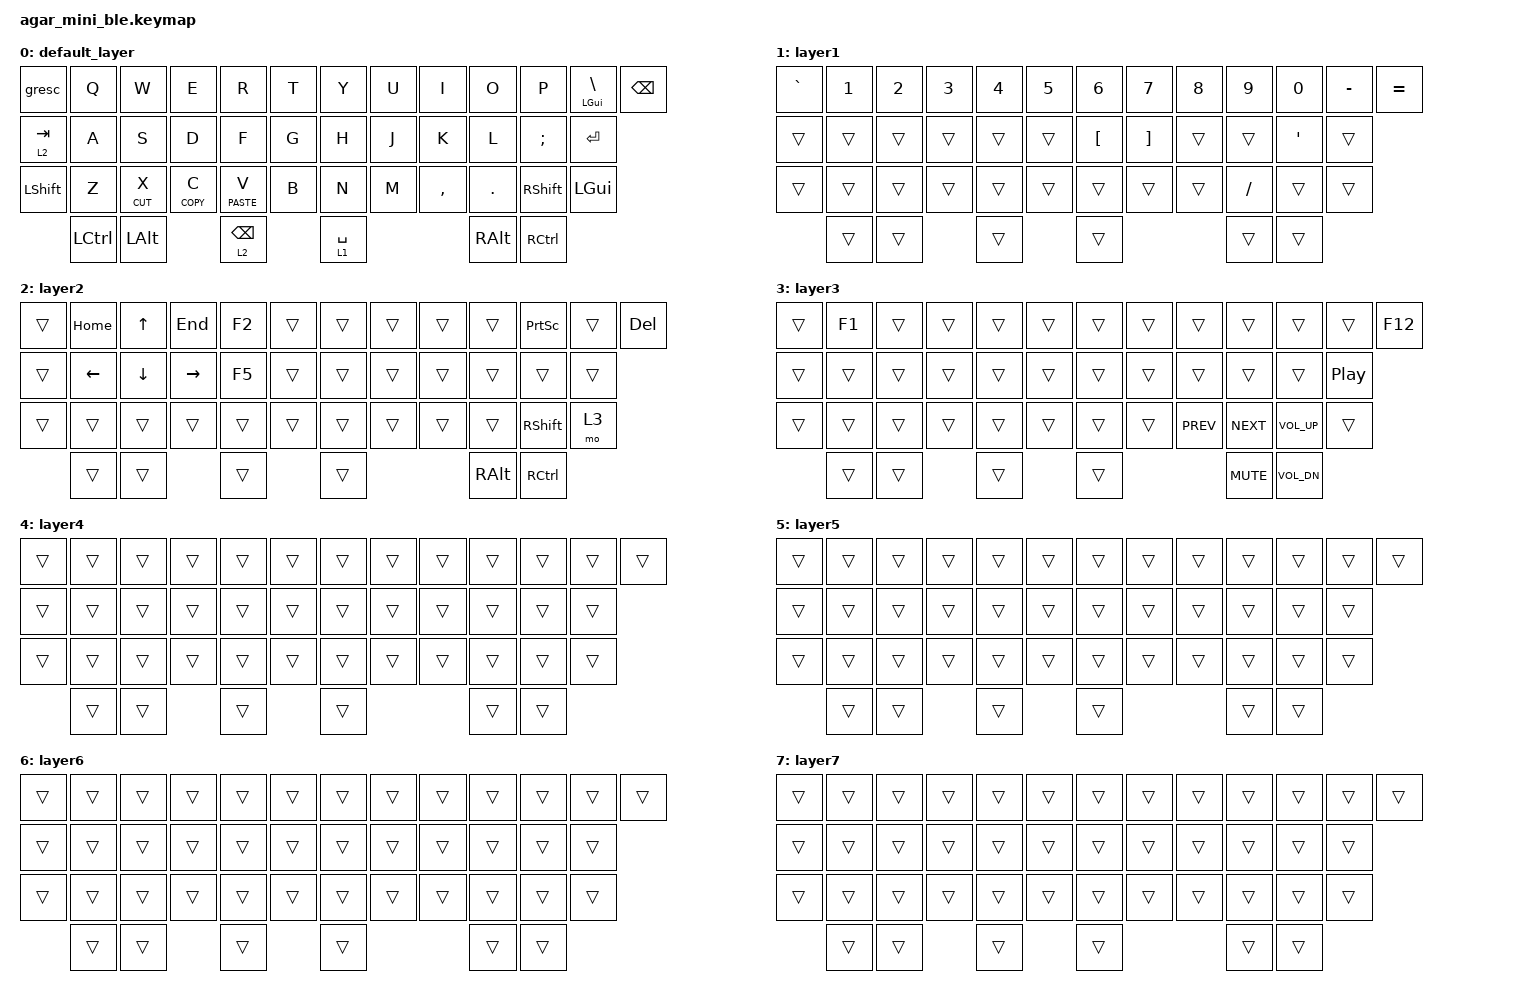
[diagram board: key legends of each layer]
/*
 * Copyright (c) 2021 The ZMK Contributors
 *
 * SPDX-License-Identifier: MIT
 */

#include "./boards/shields/klink_kbd/common.keymap"
#include <behaviors.dtsi>
#include <dt-bindings/zmk/keys.h>

&lt {
    tapping-term-ms = <500>;
    flavor = "tap-unless-interrupted";
};

/ {
    keymap {
        compatible = "zmk,keymap";

        default_layer {
            bindings = <
&gresc     &kp Q      &kp W        &kp E         &kp R            &kp T  &kp Y        &kp U  &kp I      &kp O          &kp P              &mt LGUI BACKSLASH  &kp BSPC
&lt 2 TAB  &kp A      &kp S        &kp D         &kp F            &kp G  &kp H        &kp J  &kp K      &kp L          &kp SEMI           &kp RET
&kp LSHFT  &kp Z      &mt K_CUT X  &mt K_COPY C  &mt K_PASTE V    &kp B  &kp N        &kp M  &kp COMMA  &kp DOT        &kp RIGHT_SHIFT    &kp LEFT_GUI
           &kp LCTRL  &kp LALT                   &lt 2 BACKSPACE         &lt 1 SPACE                    &kp RIGHT_ALT  &kp RIGHT_CONTROL
            >;
        };

        layer1 {
            bindings = <
&kp GRAVE  &kp N1  &kp N2  &kp N3  &kp N4  &kp N5  &kp N6            &kp N7             &kp N8  &kp N9     &kp N0            &kp MINUS  &kp EQUAL
&trans     &trans  &trans  &trans  &trans  &trans  &kp LEFT_BRACKET  &kp RIGHT_BRACKET  &trans  &trans     &kp SINGLE_QUOTE  &trans
&trans     &trans  &trans  &trans  &trans  &trans  &trans            &trans             &trans  &kp SLASH  &trans            &trans
           &trans  &trans          &trans          &trans                                       &trans     &trans
            >;
        };

        layer2 {
            bindings = <
&trans  &kp HOME        &kp UP_ARROW    &kp END          &kp F2  &trans  &trans  &trans  &trans  &trans    &kp PRINTSCREEN  &trans  &kp DELETE
&trans  &kp LEFT_ARROW  &kp DOWN_ARROW  &kp RIGHT_ARROW  &kp F5  &trans  &trans  &trans  &trans  &trans    &trans           &trans
&trans  &trans          &trans          &trans           &trans  &trans  &trans  &trans  &trans  &trans    &kp RIGHT_SHIFT  &mo 3
        &trans          &trans                           &trans          &trans                  &kp RALT  &kp RCTRL
            >;
        };

        layer3 {
            bindings = <
&trans  &kp F1  &trans  &trans  &trans  &trans  &trans  &trans  &trans      &trans      &trans        &trans            &kp F12
&trans  &trans  &trans  &trans  &trans  &trans  &trans  &trans  &trans      &trans      &trans        &kp C_PLAY_PAUSE
&trans  &trans  &trans  &trans  &trans  &trans  &trans  &trans  &kp C_PREV  &kp C_NEXT  &kp C_VOL_UP  &trans
        &trans  &trans          &trans          &trans                      &kp C_MUTE  &kp C_VOL_DN
            >;
        };

        layer4 {
            bindings = <
&trans  &trans  &trans  &trans  &trans  &trans  &trans  &trans  &trans  &trans  &trans  &trans  &trans
&trans  &trans  &trans  &trans  &trans  &trans  &trans  &trans  &trans  &trans  &trans  &trans
&trans  &trans  &trans  &trans  &trans  &trans  &trans  &trans  &trans  &trans  &trans  &trans
        &trans  &trans          &trans          &trans                  &trans  &trans
            >;
        };

        layer5 {
            bindings = <
&trans  &trans  &trans  &trans  &trans  &trans  &trans  &trans  &trans  &trans  &trans  &trans  &trans
&trans  &trans  &trans  &trans  &trans  &trans  &trans  &trans  &trans  &trans  &trans  &trans
&trans  &trans  &trans  &trans  &trans  &trans  &trans  &trans  &trans  &trans  &trans  &trans
        &trans  &trans          &trans          &trans                  &trans  &trans
            >;
        };

        layer6 {
            bindings = <
&trans  &trans  &trans  &trans  &trans  &trans  &trans  &trans  &trans  &trans  &trans  &trans  &trans
&trans  &trans  &trans  &trans  &trans  &trans  &trans  &trans  &trans  &trans  &trans  &trans
&trans  &trans  &trans  &trans  &trans  &trans  &trans  &trans  &trans  &trans  &trans  &trans
        &trans  &trans          &trans          &trans                  &trans  &trans
            >;
        };

        layer7 {
            bindings = <
&trans  &trans  &trans  &trans  &trans  &trans  &trans  &trans  &trans  &trans  &trans  &trans  &trans
&trans  &trans  &trans  &trans  &trans  &trans  &trans  &trans  &trans  &trans  &trans  &trans
&trans  &trans  &trans  &trans  &trans  &trans  &trans  &trans  &trans  &trans  &trans  &trans
        &trans  &trans          &trans          &trans                  &trans  &trans
            >;
        };
    };
};
